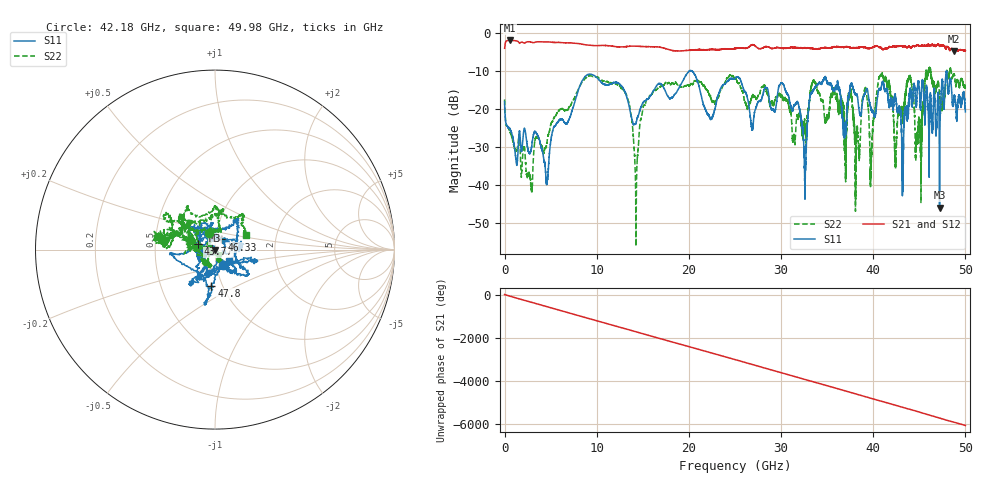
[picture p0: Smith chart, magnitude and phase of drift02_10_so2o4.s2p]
!Created with skrf (http://scikit-rf.org).
# Hz S RI R 50.0
!freq ReS11 ImS11 ReS21 ImS21 ReS12 ImS12 ReS22 ImS22
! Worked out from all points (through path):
!   10001 points, 300 kHz to 50 GHz, reference 50 ohm
!   highest |S21| = -2.00 dB at 600.3 MHz (marker M1); lowest = -4.8 dB at 48.78 GHz (marker M2)
!   group delay of S21, straight-line fit = 337 ps
!   lowest |S11| = -46.1 dB at 47.2 GHz (marker M3), VSWR 1.01, Z = 49.8 - j0.453 ohm
!   |S11| at or under -10 dB: start of sweep to 20.06 GHz; 20.06441 GHz to 20.06634 GHz (1.93 MHz wide, 0.00962 % of centre); 20.24 GHz to end of sweep (the widest 3 of 6)
!   |S22| runs from -56.2 to -9.0 dB; largest |S21 - S12| = 0.033
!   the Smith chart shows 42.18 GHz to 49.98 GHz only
!   S11 on the Smith chart (normalised r, x): 42.18 GHz: 1.08, -0.19; 43.77 GHz: 0.83, +0.05; 46.33 GHz: 1.07, +0.12; 47.8 GHz: 0.89, -0.37; 49.98 GHz: 1.15, -0.15
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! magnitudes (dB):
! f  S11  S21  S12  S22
! 300 kHz  -18.1  -4.1  -4.0  -17.6
! 600.3 MHz  -25.4  -2.0  -2.0  -26.2
! 4.565 GHz  -39.9  -2.4  -2.4  -29.3
! 8.335 GHz  -13.0  -2.9  -2.9  -13.2
! 13.02 GHz  -15.3  -3.7  -3.6  -15.7
! 14.28 GHz  -23.7  -3.5  -3.5  -47.8
! 16.67 GHz  -13.4  -3.7  -3.7  -14.5
! 25 GHz  -12.0  -4.1  -4.1  -12.0
! 30.18 GHz  -13.4  -4.1  -4.1  -16.5
! 32.56 GHz  -39.0  -4.0  -3.9  -24.7
! 33.34 GHz  -15.8  -4.0  -4.1  -13.4
! 38.28 GHz  -16.9  -4.0  -3.9  -25.5
! 41.67 GHz  -18.4  -3.8  -3.9  -12.8
! 42.18 GHz  -20.3  -3.5  -3.5  -20.4
! 43.77 GHz  -20.2  -3.7  -3.6  -12.5
! 44.99 GHz  -14.3  -3.4  -3.3  -22.2
! 46.33 GHz  -23.5  -3.2  -3.2  -12.2
! 47.2 GHz  -46.1  -3.5  -3.5  -16.5
! 47.8 GHz  -13.9  -3.8  -3.9  -15.0
! 48.78 GHz  -16.6  -4.8  -4.8  -10.9
! 49.98 GHz  -20.0  -4.6  -4.6  -14.3
! 50 GHz  -20.8  -4.7  -4.6  -14.6
